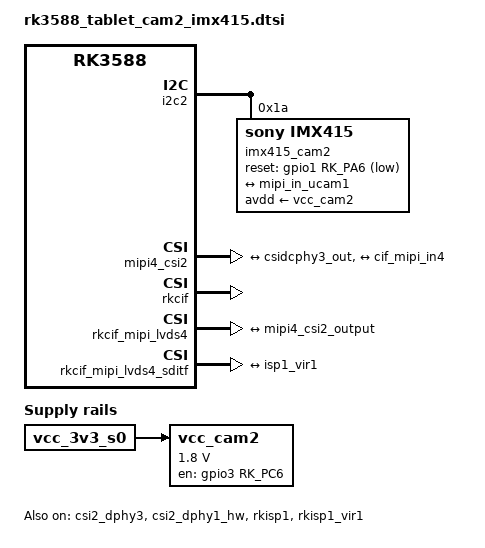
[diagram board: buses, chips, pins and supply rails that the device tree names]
// rk3588_tablet_lcd_mipi_hdmi.dtsi
//gh8555  hygd

/ {



	vcc_cam2: vcc-cam2 {
		compatible = "regulator-fixed";
		regulator-name = "vcc_cam2";
		regulator-boot-on;
		regulator-always-on;
		regulator-min-microvolt = <1800000>;
		regulator-max-microvolt = <1800000>;
		enable-active-high;
		gpio = <&gpio3 RK_PC6 GPIO_ACTIVE_HIGH>;
		vin-supply = <&vcc_3v3_s0>;
		pinctrl-names = "default";
		pinctrl-0 = <&vcc_cam2_pwr>;
	};
};


&i2c2 {
	status = "okay";
	pinctrl-names = "default";
	pinctrl-0 = <&i2c2m0_xfer>;

	imx415_cam2: imx415-cam2@1a {
		compatible = "sony,imx415";
		reg = <0x1a>;
		clocks = <&cru CLK_MIPI_CAMARAOUT_M3>;
		clock-names = "xvclk";
		pinctrl-names = "default";
		//pinctrl-0 = <&mipim0_camera1_clk>, <&imx415_power_pwr>, <&imx415_reset_pwr>;
		pinctrl-0 = <&mipim0_camera3_clk>;//, <&imx415_reset_pwr>;

		power-domains = <&power RK3588_PD_VI>;
		//power-gpios = <&gpio3 RK_PC1 GPIO_ACTIVE_HIGH>;
		reset-gpios = <&gpio1 RK_PA6 GPIO_ACTIVE_LOW>;//<&gpio1 RK_PB4 GPIO_ACTIVE_HIGH>;
		avdd-supply = <&vcc_cam2>;
		rockchip,camera-module-index = <1>;
		rockchip,camera-module-facing = "back";
		rockchip,camera-module-name = "CMK-OT2022-PX1";
		rockchip,camera-module-lens-name = "IR0147-50IRC-8M-F20";
		//lens-focus = <&cam_ircut0>;
		port {
			imx415_out1: endpoint {
				remote-endpoint = <&mipi_in_ucam1>;
				data-lanes = <1 2 3 4>;
			};
		};
	};
};


&csi2_dphy3 {
	status = "okay";

	ports {
		#address-cells = <1>;
		#size-cells = <0>;
		port@0 {
			reg = <0>;
			#address-cells = <1>;
			#size-cells = <0>;

			mipi_in_ucam1: endpoint@1 {
				reg = <1>;
				remote-endpoint = <&imx415_out1>;
				data-lanes = <1 2 3 4>;
			};
		};
		port@1 {
			reg = <1>;
			#address-cells = <1>;
			#size-cells = <0>;

			csidcphy3_out: endpoint@0 {
				reg = <0>;
				remote-endpoint = <&mipi4_csi2_input>;
			};
		};
	};
};




&mipi4_csi2 {
	status = "okay";

	ports {
		#address-cells = <1>;
		#size-cells = <0>;

		port@0 {
			reg = <0>;
			#address-cells = <1>;
			#size-cells = <0>;

			mipi4_csi2_input: endpoint@1 {
				reg = <1>;
				remote-endpoint = <&csidcphy3_out>;
			};
		};

		port@1 {
			reg = <1>;
			#address-cells = <1>;
			#size-cells = <0>;

			mipi4_csi2_output: endpoint@0 {
				reg = <0>;
				remote-endpoint = <&cif_mipi_in4>;
			};
		};
	};
};

&csi2_dphy1_hw {
       status = "okay";
};



&rkcif {
	status = "okay";
};

&rkcif_mipi_lvds4 {
	status = "okay";

	port {
		cif_mipi_in4: endpoint {
			remote-endpoint = <&mipi4_csi2_output>;
		};
	};
};

&rkcif_mipi_lvds4_sditf {
	status = "okay";

	port {
		mipi_lvds4_sditf: endpoint {
			remote-endpoint = <&isp1_vir1>;
		};
	};
};

&rkcif_mmu {
	status = "okay";
};

&rkisp1 {
	status = "okay";
};

&isp1_mmu {
	status = "okay";
};

&rkisp1_vir1 {
	status = "okay";

	port {
		#address-cells = <1>;
		#size-cells = <0>;

		isp1_vir1: endpoint@0 {
			reg = <0>;
			remote-endpoint = <&mipi_lvds4_sditf>;
		};
	};
};


&pinctrl {
	vcc_mipi {
		vcc_cam2_pwr: vcc-cam2-pwr{
			rockchip,pins = <3 RK_PC6 RK_FUNC_GPIO &pcfg_pull_none>;
		};


	};

	imx415 {
		imx415_reset_cam2: imx415-reset-cam2 {
			//rockchip,pins = <1 RK_PB5 RK_FUNC_GPIO &pcfg_pull_none>;
			rockchip,pins = <1 RK_PA6 RK_FUNC_GPIO &pcfg_pull_none>;
		};
	};

};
